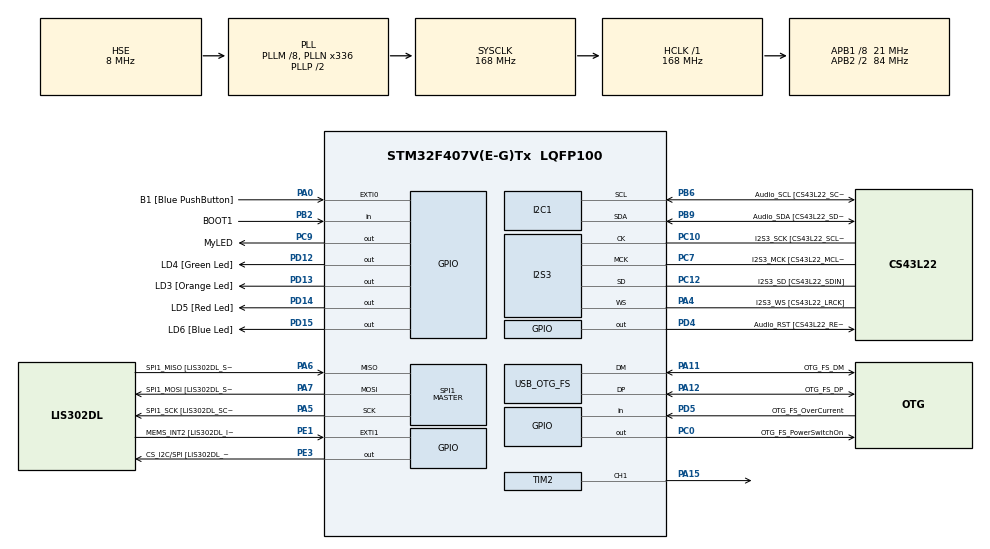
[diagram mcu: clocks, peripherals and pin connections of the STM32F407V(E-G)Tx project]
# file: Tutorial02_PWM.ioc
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PA11.GPIO_Speed=GPIO_SPEED_FREQ_LOW
PD12.GPIO_Label=LD4 [Green Led]
PH0-OSC_IN.Signal=RCC_OSC_IN
PC10.GPIO_PuPd=GPIO_NOPULL
SPI1.VirtualType=VM_MASTER
PB10.GPIO_PuPd=GPIO_NOPULL
PA10.GPIO_PuPd=GPIO_NOPULL
PC12.Signal=I2S3_SD
PA14.GPIO_Label=SWCLK
PB6.GPIO_Label=Audio_SCL [CS43L22_SCL]
PA6.GPIO_Label=SPI1_MISO [LIS302DL_SDO]
PC15-OSC32_OUT.GPIO_Label=PC15-OSC32_OUT
RCC.SYSCLKSource=RCC_SYSCLKSOURCE_PLLCLK
PC3.GPIO_Speed=GPIO_SPEED_FREQ_LOW
PA6.GPIO_Mode=GPIO_MODE_AF_PP
PD14.GPIO_Speed=GPIO_SPEED_FREQ_LOW
PA4.Mode=Half_Duplex_Master
SPI1.Direction=SPI_DIRECTION_2LINES
I2S3.AudioFreq-Half_Duplex_Master=I2S_AUDIOFREQ_96K
PD4.Signal=GPIO_Output
RCC.APB2TimFreq_Value=168000000
PB6.Signal=I2C1_SCL
PC7.Signal=I2S3_MCK
PB6.Mode=I2C
PC3.Signal=I2S2_SD
PE1.Signal=GPXTI1
PB2.Signal=GPIO_Input
I2S3.ErrorAudioFreq=-2.34 %
PA5.GPIO_PuPd=GPIO_NOPULL
I2S3.ErrorAudioFreq-Half_Duplex_Master=0.8 %
PD5.GPIO_Mode=GPIO_MODE_INPUT
PD14.GPIO_PuPd=GPIO_NOPULL
PB2.GPIO_PuPd=GPIO_NOPULL
SPI1.CalculateBaudRate-Full_Duplex_Master=42.0 MBits/s
Mcu.Package=LQFP100
PB9.Signal=I2C1_SDA
TIM2.Prescaler=646-1
PD12.Signal=GPIO_Output
PB9.GPIO_PuPd=GPIO_NOPULL
PA10.Signal=USB_OTG_FS_ID
RCC.APB2CLKDivider=RCC_HCLK_DIV2
RCC.APB1TimFreq_Value=42000000
PC12.GPIO_PuPd=GPIO_NOPULL
PA6.GPIO_Speed=GPIO_SPEED_FREQ_LOW
PA12.GPIO_PuPd=GPIO_NOPULL
PA4.GPIO_Label=I2S3_WS [CS43L22_LRCK]
PD15.Signal=GPIO_Output
PC0.PinState=GPIO_PIN_SET
PA5.Mode=Full_Duplex_Master
I2S3.FullDuplexMode=I2S_FULLDUPLEXMODE_DISABLE
PA9.GPIO_Label=VBUS_FS
PB6.GPIO_PuPd=GPIO_NOPULL
PA11.GPIO_Label=OTG_FS_DM
PE1.GPIO_PuPd=GPIO_NOPULL
PC0.Signal=GPIO_Output
RCC.APB1CLKDivider=RCC_HCLK_DIV8
PC14-OSC32_IN.Signal=RCC_OSC32_IN
PA0-WKUP.GPIO_ModeDefaultEXTI=GPIO_MODE_EVT_RISING
PA0-WKUP.GPIO_Label=B1 [Blue PushButton]
PA0-WKUP.Signal=GPXTI0
PC10.GPIO_Mode=GPIO_MODE_AF_PP
PB10.GPIO_Mode=GPIO_MODE_AF_PP
PA9.Signal=USB_OTG_FS_VBUS
I2S3.VirtualMode=I2S_MODE_MASTER
PC7.GPIO_PuPd=GPIO_NOPULL
PB10.Signal=I2S2_CK
PA5.Signal=SPI1_SCK
PC12.Mode=Half_Duplex_Master
PE1.GPIO_Label=MEMS_INT2 [LIS302DL_INT2]
PA7.GPIO_Speed=GPIO_SPEED_FREQ_LOW
PB2.GPIO_Mode=GPIO_MODE_INPUT
SPI1.Mode=SPI_MODE_MASTER
PD4.GPIO_Speed=GPIO_SPEED_FREQ_LOW
PE3.GPIO_PuPd=GPIO_NOPULL
PH1-OSC_OUT.GPIO_Label=PH1-OSC_OUT
TIM2.Period=255
PA13.Mode=Serial_Wire
PC7.GPIO_Label=I2S3_MCK [CS43L22_MCLK]
PA4.Signal=I2S3_WS
PC12.GPIO_Mode=GPIO_MODE_AF_PP
PA5.GPIO_Label=SPI1_SCK [LIS302DL_SCL/SPC]
PE3.GPIO_Speed=GPIO_SPEED_FREQ_LOW
PC12.GPIO_Label=I2S3_SD [CS43L22_SDIN]
PA11.Signal=USB_OTG_FS_DM
SH.S_TIM2_CH1_ETR.0=TIM2_CH1,PWM Generation1 CH1
ProjectManager.HeapSize=0x200
NVIC.PriorityGroup=NVIC_PRIORITYGROUP_0
PE3.Signal=GPIO_Output
TIM2.AutoReloadPreload=TIM_AUTORELOAD_PRELOAD_ENABLE
PC3.GPIO_Label=PDM_OUT [MP45DT02_DOUT]
PA0-WKUP.GPIO_PuPd=GPIO_NOPULL
I2S3.Instance=SPI$Index
PB6.GPIO_Speed=GPIO_SPEED_FREQ_LOW
SPI1.BaudRatePrescaler-Full_Duplex_Master=SPI_BAUDRATEPRESCALER_2
Mcu.Family=STM32F4
PC3.GPIO_Mode=GPIO_MODE_AF_PP
PA6.Mode=Full_Duplex_Master
USB_DEVICE.CLASS_NAME_FS=CDC
RCC.CortexFreq_Value=168000000
PB10.GPIO_Speed=GPIO_SPEED_FREQ_LOW
PB6.GPIO_Mode=GPIO_MODE_AF_OD
PD15.GPIO_Speed=GPIO_SPEED_FREQ_LOW
PC10.Signal=I2S3_CK
PA7.GPIO_Mode=GPIO_MODE_AF_PP
PC0.GPIO_Label=OTG_FS_PowerSwitchOn
PA11.Mode=Device_Only
USB_DEVICE.VirtualMode-CDC_FS=Cdc
PC10.GPIO_Speed=GPIO_SPEED_FREQ_LOW
PA11.GPIO_PuPd=GPIO_NOPULL
ProjectManager.StackSize=0x400
SPI1.Mode-Full_Duplex_Master=SPI_MODE_MASTER
PD13.Signal=GPIO_Output
PA12.Signal=USB_OTG_FS_DP
RCC.HCLKFreq_Value=168000000
RCC.AHBFreq_Value=168000000
PH0-OSC_IN.Mode=HSE-External-Oscillator
PH0-OSC_IN.GPIO_Label=PH0-OSC_IN
PA9.GPIO_Mode=GPIO_MODE_INPUT
RCC.HSE_VALUE=8000000
PA4.GPIO_PuPd=GPIO_NOPULL
PA4.GPIO_Speed=GPIO_SPEED_FREQ_LOW
PA6.GPIO_PuPd=GPIO_NOPULL
PC14-OSC32_IN.Mode=LSE-External-Oscillator
PA14.Mode=Serial_Wire
PA10.GPIO_Label=OTG_FS_ID
PC7.GPIO_Mode=GPIO_MODE_AF_PP
TIM2.Channel-PWM\ Generation1\ CH1=TIM_CHANNEL_1
PH1-OSC_OUT.Mode=HSE-External-Oscillator
PD13.GPIO_Label=LD3 [Orange Led]
PA6.Signal=SPI1_MISO
PD5.GPIO_Label=OTG_FS_OverCurrent
NVIC.OTG_FS_IRQn=true\:0\:0\:false\:false\:true\:true\:true
PD15.GPIO_PuPd=GPIO_NOPULL
USB_OTG_FS.VirtualMode=Device_Only
PA15.Signal=S_TIM2_CH1_ETR
PA10.GPIO_Speed=GPIO_SPEED_FREQ_LOW
PB9.GPIO_Speed=GPIO_SPEED_FREQ_LOW
PC14-OSC32_IN.GPIO_Label=PC14-OSC32_IN
PC0.GPIO_PuPd=GPIO_NOPULL
PA12.GPIO_Speed=GPIO_SPEED_FREQ_LOW
PB3.GPIO_Label=SWO
PC15-OSC32_OUT.Mode=LSE-External-Oscillator
PD12.GPIO_Speed=GPIO_SPEED_FREQ_LOW
PD15.GPIO_Label=LD6 [Blue Led]
PA7.Mode=Full_Duplex_Master
PB9.GPIO_Label=Audio_SDA [CS43L22_SDA]
PC10.GPIO_Label=I2S3_SCK [CS43L22_SCLK]
PC9.GPIO_Label=MyLED
USB_DEVICE.VirtualModeFS=Cdc_FS
PC10.Mode=Half_Duplex_Master
PD5.Signal=GPIO_Input
PE1.GPIO_ModeDefaultEXTI=GPIO_MODE_EVT_RISING
PA9.GPIO_PuPd=GPIO_NOPULL
PA12.GPIO_Label=OTG_FS_DP
TIM2.Pulse-PWM\ Generation1\ CH1=25
PA10.GPIO_Mode=GPIO_MODE_AF_PP
PA13.Signal=SYS_JTMS-SWDIO
PD4.GPIO_PuPd=GPIO_NOPULL
PC0.GPIO_Speed=GPIO_SPEED_FREQ_LOW
I2S3.RealAudioFreq-Half_Duplex_Master=96.774 KHz
ProjectManager.TargetToolchain=STM32CubeIDE
PB10.GPIO_Label=CLK_IN [MP45DT02_CLK]
VP_USB_DEVICE_VS_USB_DEVICE_CDC_FS.Mode=CDC_FS
PB9.Mode=I2C
PC15-OSC32_OUT.Signal=RCC_OSC32_OUT
PA7.GPIO_PuPd=GPIO_NOPULL
board=STM32F407G-DISC1
PD13.GPIO_Speed=GPIO_SPEED_FREQ_LOW
PC7.GPIO_Speed=GPIO_SPEED_FREQ_LOW
RCC.VCOOutputFreq_Value=336000000
PB9.GPIO_Mode=GPIO_MODE_AF_OD
PA12.GPIO_Mode=GPIO_MODE_AF_PP
PA4.GPIO_Mode=GPIO_MODE_AF_PP
RCC.APB2Freq_Value=84000000
VP_TIM2_VS_ClockSourceINT.Mode=Internal
PD4.GPIO_Label=Audio_RST [CS43L22_RESET]
PH1-OSC_OUT.Signal=RCC_OSC_OUT
PD13.GPIO_PuPd=GPIO_NOPULL
PD5.GPIO_PuPd=GPIO_NOPULL
PD14.GPIO_Label=LD5 [Red Led]
Mcu.Name=STM32F407V(E-G)Tx
PA13.GPIO_Label=SWDIO
PD14.Signal=GPIO_Output
RCC.48MHZClocksFreq_Value=48000000
PB3.Signal=SYS_JTDO-SWO
RCC.SYSCLKFreq_VALUE=168000000
PA7.GPIO_Label=SPI1_MOSI [LIS302DL_SDA/SDI/SDO]
PA12.Mode=Device_Only
PA14.Signal=SYS_JTCK-SWCLK
PB2.GPIO_Label=BOOT1
RCC.HSI_VALUE=16000000
PA5.GPIO_Speed=GPIO_SPEED_FREQ_LOW
RCC.PLLQ=7
I2S3.RealAudioFreq=93.75 KHz
RCC.PLLM=8
RCC.PLLN=336
PE3.GPIO_Label=CS_I2C/SPI [LIS302DL_CS_I2C/SPI]
PC9.Signal=GPIO_Output
PC7.Mode=Master_Clock_Activated
PA11.GPIO_Mode=GPIO_MODE_AF_PP
RCC.APB1Freq_Value=21000000
PA5.GPIO_Mode=GPIO_MODE_AF_PP
PC12.GPIO_Speed=GPIO_SPEED_FREQ_LOW
PC3.GPIO_PuPd=GPIO_NOPULL
PD12.GPIO_PuPd=GPIO_NOPULL
PA7.Signal=SPI1_MOSI

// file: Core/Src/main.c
/* USER CODE BEGIN Header */
/**
  ******************************************************************************
  * @file           : main.c
  * @brief          : Main program body
  ******************************************************************************
  * @attention
  *
  * <h2><center>&copy; Copyright (c) 2021 STMicroelectronics.
  * All rights reserved.</center></h2>
  *
  * This software component is licensed by ST under Ultimate Liberty license
  * SLA0044, the "License"; You may not use this file except in compliance with
  * the License. You may obtain a copy of the License at:
  *                             www.st.com/SLA0044
  *
  ******************************************************************************
  */
/* USER CODE END Header */
#include "main.h"
#include "usb_device.h"

I2C_HandleTypeDef hi2c1;

I2S_HandleTypeDef hi2s3;

SPI_HandleTypeDef hspi1;

TIM_HandleTypeDef htim2;

void SystemClock_Config(void);
static void MX_GPIO_Init(void);
static void MX_I2C1_Init(void);
static void MX_I2S3_Init(void);
static void MX_SPI1_Init(void);
static void MX_TIM2_Init(void);
/* USER CODE BEGIN PFP */
static void playNote(int pulse, int freq) {
    while (pulse < 255) {
	    htim2.Instance->CCR1 = pulse;
	    pulse += freq;
	    //HAL_Delay(0);
    }
}

static void playNoteNoConstraints(int pulse, int freq) {
	htim2.Instance->CCR1 = pulse;
	pulse += freq;
}
/* USER CODE END PFP */

/* USER CODE BEGIN 0 */
__IO uint32_t pulse = 0;
int delay = 1000;
/* USER CODE END 0 */

int main(void)
{

  /* MCU Configuration--------------------------------------------------------*/

  /* Reset of all peripherals, Initializes the Flash interface and the Systick. */
  HAL_Init();

  /* Configure the system clock */
  SystemClock_Config();

  /* Initialize all configured peripherals */
  MX_GPIO_Init();
  MX_I2C1_Init();
  MX_I2S3_Init();
  MX_SPI1_Init();
  MX_TIM2_Init();
  MX_USB_DEVICE_Init();
  /* USER CODE BEGIN 2 */
  HAL_TIM_PWM_Start(&htim2, TIM_CHANNEL_1);

  /* USER CODE END 2 */

  /* Infinite loop */
  /* USER CODE BEGIN WHILE */
  while (1)
  {
	  HAL_GPIO_WritePin(MyLED_GPIO_Port, MyLED_Pin, 1);

	  playNote(pulse, 128);
	  HAL_Delay(500);
	  TIM2->CCR1 = 0;
	  HAL_Delay(500);

	  playNote(pulse, 128);
	  HAL_Delay(500);
	  TIM2->CCR1 = 0;
	  HAL_Delay(500);

	  playNote(pulse, 128);
	  HAL_Delay(500);
	  TIM2->CCR1 = 0;
	  HAL_Delay(500);

	  playNote(pulse, 128);
	  HAL_Delay(500);
	  TIM2->CCR1 = 0;
	  HAL_Delay(500);

	  playNote(pulse, 200);
	  HAL_Delay(500);
	  TIM2->CCR1 = 0;
	  HAL_Delay(500);

	  playNote(pulse, 200);
	  HAL_Delay(500);
	  TIM2->CCR1 = 0;
	  HAL_Delay(500);

	  playNote(pulse, 200);
	  HAL_Delay(500);
	  TIM2->CCR1 = 0;
	  HAL_Delay(500);

	  playNote(pulse, 200);
	  HAL_Delay(500);
	  TIM2->CCR1 = 0;
	  HAL_Delay(500);

	  playNote(pulse, 228);
	  HAL_Delay(500);
	  TIM2->CCR1 = 0;
	  HAL_Delay(500);

	  playNote(pulse, 228);
	  HAL_Delay(500);
	  TIM2->CCR1 = 0;
	  HAL_Delay(500);

	  playNote(pulse, 200);
	  HAL_Delay(500);
	  TIM2->CCR1 = 0;
	  HAL_Delay(500);

	  playNote(pulse, 200);
	  HAL_Delay(500);
	  TIM2->CCR1 = 0;
	  HAL_Delay(500);

	  playNote(pulse, 128);
	  HAL_Delay(500);
	  TIM2->CCR1 = 0;
	  HAL_Delay(500);

	  playNote(pulse, 128);
	  HAL_Delay(500);
	  TIM2->CCR1 = 0;
	  HAL_Delay(500);

	  playNote(pulse, 128);
	  HAL_Delay(1000);
	  TIM2->CCR1 = 0;
	  HAL_Delay(500);

	  /*for (int i = 1; i < 255; i++) {
		  playNote(pulse, i);
		  HAL_Delay(delay);
	  }*/

	  /*playNote(pulse, 254);
	  HAL_Delay(delay);

	  playNote(pulse, 128);
	  HAL_Delay(delay);

	  playNote(pulse, 64);
	  HAL_Delay(delay);

	  playNote(pulse, 32);
	  HAL_Delay(delay);

	  playNote(pulse, 16);
	  HAL_Delay(delay);

	  playNote(pulse, 8);
	  HAL_Delay(delay);

	  playNote(pulse, 4);
	  HAL_Delay(delay);

	  playNote(pulse, 2);
	  HAL_Delay(delay);

	  playNote(pulse, 1);
	  HAL_Delay(delay);*/

	  /*for (int i = 0; i < 255; i++) {
		  playNote(pulse, i);
		  HAL_Delay(100);

		  pulse = 0;
		  htim2.Instance->CCR1 = pulse;
	  }*/

	  //__HAL_TIM_SET_COMPARE(&htim2, TIM_CHANNEL_1, pulse);

    /* USER CODE END WHILE */

  }
}

void SystemClock_Config(void)
{
  RCC_OscInitTypeDef RCC_OscInitStruct = {0};
  RCC_ClkInitTypeDef RCC_ClkInitStruct = {0};
  RCC_PeriphCLKInitTypeDef PeriphClkInitStruct = {0};

  /** Configure the main internal regulator output voltage
  */
  __HAL_RCC_PWR_CLK_ENABLE();
  __HAL_PWR_VOLTAGESCALING_CONFIG(PWR_REGULATOR_VOLTAGE_SCALE1);
  /** Initializes the RCC Oscillators according to the specified parameters
  * in the RCC_OscInitTypeDef structure.
  */
  RCC_OscInitStruct.OscillatorType = RCC_OSCILLATORTYPE_HSE;
  RCC_OscInitStruct.HSEState = RCC_HSE_ON;
  RCC_OscInitStruct.PLL.PLLState = RCC_PLL_ON;
  RCC_OscInitStruct.PLL.PLLSource = RCC_PLLSOURCE_HSE;
  RCC_OscInitStruct.PLL.PLLM = 8;
  RCC_OscInitStruct.PLL.PLLN = 336;
  RCC_OscInitStruct.PLL.PLLP = RCC_PLLP_DIV2;
  RCC_OscInitStruct.PLL.PLLQ = 7;
  if (HAL_RCC_OscConfig(&RCC_OscInitStruct) != HAL_OK)
  {
    Error_Handler();
  }
  /** Initializes the CPU, AHB and APB buses clocks
  */
  RCC_ClkInitStruct.ClockType = RCC_CLOCKTYPE_HCLK|RCC_CLOCKTYPE_SYSCLK
                              |RCC_CLOCKTYPE_PCLK1|RCC_CLOCKTYPE_PCLK2;
  RCC_ClkInitStruct.SYSCLKSource = RCC_SYSCLKSOURCE_PLLCLK;
  RCC_ClkInitStruct.AHBCLKDivider = RCC_SYSCLK_DIV1;
  RCC_ClkInitStruct.APB1CLKDivider = RCC_HCLK_DIV8;
  RCC_ClkInitStruct.APB2CLKDivider = RCC_HCLK_DIV2;

  if (HAL_RCC_ClockConfig(&RCC_ClkInitStruct, FLASH_LATENCY_5) != HAL_OK)
  {
    Error_Handler();
  }
  PeriphClkInitStruct.PeriphClockSelection = RCC_PERIPHCLK_I2S;
  PeriphClkInitStruct.PLLI2S.PLLI2SN = 192;
  PeriphClkInitStruct.PLLI2S.PLLI2SR = 2;
  if (HAL_RCCEx_PeriphCLKConfig(&PeriphClkInitStruct) != HAL_OK)
  {
    Error_Handler();
  }
}

static void MX_I2C1_Init(void)
{

  hi2c1.Instance = I2C1;
  hi2c1.Init.ClockSpeed = 100000;
  hi2c1.Init.DutyCycle = I2C_DUTYCYCLE_2;
  hi2c1.Init.OwnAddress1 = 0;
  hi2c1.Init.AddressingMode = I2C_ADDRESSINGMODE_7BIT;
  hi2c1.Init.DualAddressMode = I2C_DUALADDRESS_DISABLE;
  hi2c1.Init.OwnAddress2 = 0;
  hi2c1.Init.GeneralCallMode = I2C_GENERALCALL_DISABLE;
  hi2c1.Init.NoStretchMode = I2C_NOSTRETCH_DISABLE;
  if (HAL_I2C_Init(&hi2c1) != HAL_OK)
  {
    Error_Handler();
  }

}

static void MX_I2S3_Init(void)
{

  hi2s3.Instance = SPI3;
  hi2s3.Init.Mode = I2S_MODE_MASTER_TX;
  hi2s3.Init.Standard = I2S_STANDARD_PHILIPS;
  hi2s3.Init.DataFormat = I2S_DATAFORMAT_16B;
  hi2s3.Init.MCLKOutput = I2S_MCLKOUTPUT_ENABLE;
  hi2s3.Init.AudioFreq = I2S_AUDIOFREQ_96K;
  hi2s3.Init.CPOL = I2S_CPOL_LOW;
  hi2s3.Init.ClockSource = I2S_CLOCK_PLL;
  hi2s3.Init.FullDuplexMode = I2S_FULLDUPLEXMODE_DISABLE;
  if (HAL_I2S_Init(&hi2s3) != HAL_OK)
  {
    Error_Handler();
  }

}

static void MX_SPI1_Init(void)
{

  /* SPI1 parameter configuration*/
  hspi1.Instance = SPI1;
  hspi1.Init.Mode = SPI_MODE_MASTER;
  hspi1.Init.Direction = SPI_DIRECTION_2LINES;
  hspi1.Init.DataSize = SPI_DATASIZE_8BIT;
  hspi1.Init.CLKPolarity = SPI_POLARITY_LOW;
  hspi1.Init.CLKPhase = SPI_PHASE_1EDGE;
  hspi1.Init.NSS = SPI_NSS_SOFT;
  hspi1.Init.BaudRatePrescaler = SPI_BAUDRATEPRESCALER_2;
  hspi1.Init.FirstBit = SPI_FIRSTBIT_MSB;
  hspi1.Init.TIMode = SPI_TIMODE_DISABLE;
  hspi1.Init.CRCCalculation = SPI_CRCCALCULATION_DISABLE;
  hspi1.Init.CRCPolynomial = 10;
  if (HAL_SPI_Init(&hspi1) != HAL_OK)
  {
    Error_Handler();
  }

}

static void MX_TIM2_Init(void)
{

  TIM_ClockConfigTypeDef sClockSourceConfig = {0};
  TIM_MasterConfigTypeDef sMasterConfig = {0};
  TIM_OC_InitTypeDef sConfigOC = {0};

  htim2.Instance = TIM2;
  htim2.Init.Prescaler = 646-1;
  htim2.Init.CounterMode = TIM_COUNTERMODE_UP;
  htim2.Init.Period = 255;
  htim2.Init.ClockDivision = TIM_CLOCKDIVISION_DIV1;
  htim2.Init.AutoReloadPreload = TIM_AUTORELOAD_PRELOAD_ENABLE;
  if (HAL_TIM_Base_Init(&htim2) != HAL_OK)
  {
    Error_Handler();
  }
  sClockSourceConfig.ClockSource = TIM_CLOCKSOURCE_INTERNAL;
  if (HAL_TIM_ConfigClockSource(&htim2, &sClockSourceConfig) != HAL_OK)
  {
    Error_Handler();
  }
  if (HAL_TIM_PWM_Init(&htim2) != HAL_OK)
  {
    Error_Handler();
  }
  sMasterConfig.MasterOutputTrigger = TIM_TRGO_RESET;
  sMasterConfig.MasterSlaveMode = TIM_MASTERSLAVEMODE_DISABLE;
  if (HAL_TIMEx_MasterConfigSynchronization(&htim2, &sMasterConfig) != HAL_OK)
  {
    Error_Handler();
  }
  sConfigOC.OCMode = TIM_OCMODE_PWM1;
  sConfigOC.Pulse = 25;
  sConfigOC.OCPolarity = TIM_OCPOLARITY_HIGH;
  sConfigOC.OCFastMode = TIM_OCFAST_DISABLE;
  if (HAL_TIM_PWM_ConfigChannel(&htim2, &sConfigOC, TIM_CHANNEL_1) != HAL_OK)
  {
    Error_Handler();
  }
  HAL_TIM_MspPostInit(&htim2);

}

static void MX_GPIO_Init(void)
{
  GPIO_InitTypeDef GPIO_InitStruct = {0};

  /* GPIO Ports Clock Enable */
  __HAL_RCC_GPIOE_CLK_ENABLE();
  __HAL_RCC_GPIOC_CLK_ENABLE();
  __HAL_RCC_GPIOH_CLK_ENABLE();
  __HAL_RCC_GPIOA_CLK_ENABLE();
  __HAL_RCC_GPIOB_CLK_ENABLE();
  __HAL_RCC_GPIOD_CLK_ENABLE();

  /*Configure GPIO pin Output Level */
  HAL_GPIO_WritePin(CS_I2C_SPI_GPIO_Port, CS_I2C_SPI_Pin, GPIO_PIN_RESET);

  /*Configure GPIO pin Output Level */
  HAL_GPIO_WritePin(OTG_FS_PowerSwitchOn_GPIO_Port, OTG_FS_PowerSwitchOn_Pin, GPIO_PIN_SET);

  /*Configure GPIO pin Output Level */
  HAL_GPIO_WritePin(GPIOD, LD4_Pin|LD3_Pin|LD5_Pin|LD6_Pin
                          |Audio_RST_Pin, GPIO_PIN_RESET);

  /*Configure GPIO pin Output Level */
  HAL_GPIO_WritePin(MyLED_GPIO_Port, MyLED_Pin, GPIO_PIN_RESET);

  /*Configure GPIO pin : CS_I2C_SPI_Pin */
  GPIO_InitStruct.Pin = CS_I2C_SPI_Pin;
  GPIO_InitStruct.Mode = GPIO_MODE_OUTPUT_PP;
  GPIO_InitStruct.Pull = GPIO_NOPULL;
  GPIO_InitStruct.Speed = GPIO_SPEED_FREQ_LOW;
  HAL_GPIO_Init(CS_I2C_SPI_GPIO_Port, &GPIO_InitStruct);

  /*Configure GPIO pins : OTG_FS_PowerSwitchOn_Pin MyLED_Pin */
  GPIO_InitStruct.Pin = OTG_FS_PowerSwitchOn_Pin|MyLED_Pin;
  GPIO_InitStruct.Mode = GPIO_MODE_OUTPUT_PP;
  GPIO_InitStruct.Pull = GPIO_NOPULL;
  GPIO_InitStruct.Speed = GPIO_SPEED_FREQ_LOW;
  HAL_GPIO_Init(GPIOC, &GPIO_InitStruct);

  /*Configure GPIO pin : PDM_OUT_Pin */
  GPIO_InitStruct.Pin = PDM_OUT_Pin;
  GPIO_InitStruct.Mode = GPIO_MODE_AF_PP;
  GPIO_InitStruct.Pull = GPIO_NOPULL;
  GPIO_InitStruct.Speed = GPIO_SPEED_FREQ_LOW;
  GPIO_InitStruct.Alternate = GPIO_AF5_SPI2;
  HAL_GPIO_Init(PDM_OUT_GPIO_Port, &GPIO_InitStruct);

  /*Configure GPIO pin : B1_Pin */
  GPIO_InitStruct.Pin = B1_Pin;
  GPIO_InitStruct.Mode = GPIO_MODE_EVT_RISING;
  GPIO_InitStruct.Pull = GPIO_NOPULL;
  HAL_GPIO_Init(B1_GPIO_Port, &GPIO_InitStruct);

  /*Configure GPIO pin : BOOT1_Pin */
  GPIO_InitStruct.Pin = BOOT1_Pin;
  GPIO_InitStruct.Mode = GPIO_MODE_INPUT;
  GPIO_InitStruct.Pull = GPIO_NOPULL;
  HAL_GPIO_Init(BOOT1_GPIO_Port, &GPIO_InitStruct);

  /*Configure GPIO pin : CLK_IN_Pin */
  GPIO_InitStruct.Pin = CLK_IN_Pin;
  GPIO_InitStruct.Mode = GPIO_MODE_AF_PP;
  GPIO_InitStruct.Pull = GPIO_NOPULL;
  GPIO_InitStruct.Speed = GPIO_SPEED_FREQ_LOW;
  GPIO_InitStruct.Alternate = GPIO_AF5_SPI2;
  HAL_GPIO_Init(CLK_IN_GPIO_Port, &GPIO_InitStruct);

  /*Configure GPIO pins : LD4_Pin LD3_Pin LD5_Pin LD6_Pin
                           Audio_RST_Pin */
  GPIO_InitStruct.Pin = LD4_Pin|LD3_Pin|LD5_Pin|LD6_Pin
                          |Audio_RST_Pin;
  GPIO_InitStruct.Mode = GPIO_MODE_OUTPUT_PP;
  GPIO_InitStruct.Pull = GPIO_NOPULL;
  GPIO_InitStruct.Speed = GPIO_SPEED_FREQ_LOW;
  HAL_GPIO_Init(GPIOD, &GPIO_InitStruct);

  /*Configure GPIO pin : OTG_FS_OverCurrent_Pin */
  GPIO_InitStruct.Pin = OTG_FS_OverCurrent_Pin;
  GPIO_InitStruct.Mode = GPIO_MODE_INPUT;
  GPIO_InitStruct.Pull = GPIO_NOPULL;
  HAL_GPIO_Init(OTG_FS_OverCurrent_GPIO_Port, &GPIO_InitStruct);

  /*Configure GPIO pin : MEMS_INT2_Pin */
  GPIO_InitStruct.Pin = MEMS_INT2_Pin;
  GPIO_InitStruct.Mode = GPIO_MODE_EVT_RISING;
  GPIO_InitStruct.Pull = GPIO_NOPULL;
  HAL_GPIO_Init(MEMS_INT2_GPIO_Port, &GPIO_InitStruct);

}

void Error_Handler(void)
{
  __disable_irq();
  while (1)
  {
  }
}

/************************ (C) COPYRIGHT STMicroelectronics *****END OF FILE****/
